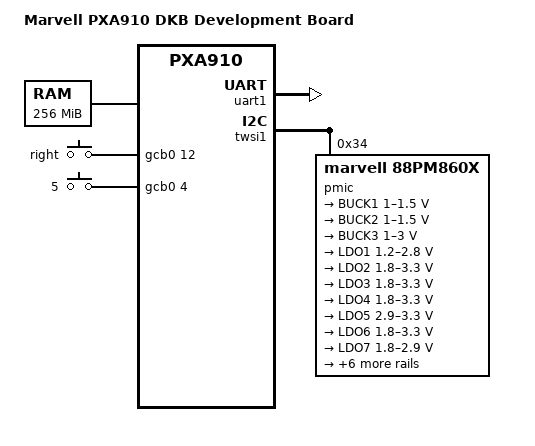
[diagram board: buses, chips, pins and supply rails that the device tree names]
/*
 *  Copyright (C) 2012 Marvell Technology Group Ltd.
 *  Author: Haojian Zhuang <haojian.zhuang@marvell.com>
 *
 *  This program is free software; you can redistribute it and/or modify
 *  it under the terms of the GNU General Public License version 2 as
 *  publishhed by the Free Software Foundation.
 */

/dts-v1/;
/include/ "pxa910.dtsi"

/ {
	model = "Marvell PXA910 DKB Development Board";
	compatible = "mrvl,pxa910-dkb", "mrvl,pxa910";

	chosen {
		bootargs = "console=ttyS0,115200 root=/dev/nfs nfsroot=192.168.1.100:/nfsroot/ ip=192.168.1.101:192.168.1.100::255.255.255.0::eth0:on";
	};

	memory {
		reg = <0x00000000 0x10000000>;
	};

	soc {
		apb@d4000000 {
			uart1: uart@d4017000 {
				status = "okay";
			};
			twsi1: i2c@d4011000 {
				status = "okay";

				pmic: 88pm860x@34 {
					compatible = "marvell,88pm860x";
					reg = <0x34>;
					interrupts = <4>;
					interrupt-parent = <&intc>;
					interrupt-controller;
					#interrupt-cells = <1>;

					marvell,88pm860x-irq-read-clr;
					marvell,88pm860x-slave-addr = <0x11>;

					regulators {
						BUCK1 {
							regulator-min-microvolt = <1000000>;
							regulator-max-microvolt = <1500000>;
							regulator-boot-on;
							regulator-always-on;
						};
						BUCK2 {
							regulator-min-microvolt = <1000000>;
							regulator-max-microvolt = <1500000>;
							regulator-boot-on;
							regulator-always-on;
						};
						BUCK3 {
							regulator-min-microvolt = <1000000>;
							regulator-max-microvolt = <3000000>;
							regulator-boot-on;
							regulator-always-on;
						};
						LDO1 {
							regulator-min-microvolt = <1200000>;
							regulator-max-microvolt = <2800000>;
							regulator-boot-on;
							regulator-always-on;
						};
						LDO2 {
							regulator-min-microvolt = <1800000>;
							regulator-max-microvolt = <3300000>;
							regulator-boot-on;
							regulator-always-on;
						};
						LDO3 {
							regulator-min-microvolt = <1800000>;
							regulator-max-microvolt = <3300000>;
							regulator-boot-on;
							regulator-always-on;
						};
						LDO4 {
							regulator-min-microvolt = <1800000>;
							regulator-max-microvolt = <3300000>;
							regulator-always-on;
						};
						LDO5 {
							regulator-min-microvolt = <2900000>;
							regulator-max-microvolt = <3300000>;
							regulator-boot-on;
							regulator-always-on;
						};
						LDO6 {
							regulator-min-microvolt = <1800000>;
							regulator-max-microvolt = <3300000>;
							regulator-boot-on;
							regulator-always-on;
						};
						LDO7 {
							regulator-min-microvolt = <1800000>;
							regulator-max-microvolt = <2900000>;
							regulator-boot-on;
							regulator-always-on;
						};
						LDO8 {
							regulator-min-microvolt = <1800000>;
							regulator-max-microvolt = <2900000>;
							regulator-boot-on;
							regulator-always-on;
						};
						LDO9 {
							regulator-min-microvolt = <1800000>;
							regulator-max-microvolt = <3300000>;
							regulator-boot-on;
							regulator-always-on;
						};
						LDO10 {
							regulator-min-microvolt = <1200000>;
							regulator-max-microvolt = <3300000>;
							regulator-boot-on;
							regulator-always-on;
						};
						LDO12 {
							regulator-min-microvolt = <1200000>;
							regulator-max-microvolt = <3300000>;
							regulator-always-on;
						};
						LDO13 {
							regulator-min-microvolt = <1200000>;
							regulator-max-microvolt = <3300000>;
							regulator-always-on;
						};
						LDO14 {
							regulator-min-microvolt = <1800000>;
							regulator-max-microvolt = <3300000>;
							regulator-always-on;
						};
					};
					rtc {
						marvell,88pm860x-vrtc = <1>;
					};
					touch {
						marvell,88pm860x-gpadc-prebias = <1>;
						marvell,88pm860x-gpadc-slot-cycle = <1>;
						marvell,88pm860x-tsi-prebias = <6>;
						marvell,88pm860x-pen-prebias = <16>;
						marvell,88pm860x-pen-prechg = <2>;
						marvell,88pm860x-resistor-X = <300>;
					};
					backlights {
						backlight-0 {
							marvell,88pm860x-iset = <4>;
							marvell,88pm860x-pwm = <3>;
						};
						backlight-2 {
						};
					};
					leds {
						led0-red {
							marvell,88pm860x-iset = <12>;
						};
						led0-green {
							marvell,88pm860x-iset = <12>;
						};
						led0-blue {
							marvell,88pm860x-iset = <12>;
						};
					};
				};
			};
			rtc: rtc@d4010000 {
				status = "okay";
			};
			gpio-keys {
				compatible = "gpio-keys";

				/* in6, out3, out4 */
				right {
					label = "right";
					gpios = <&gcb0 12 0>;
					linux,code = <106>;	/* KEY_RIGHT */
				};
				num5 {
					label = "5";
					gpios = <&gcb0 4 0>;
					linux,code = <6>;	/* KEY_5 */
				};
			};
			gpio@d4019000 {
				status = "okay";

				/*
				 * In theorical, some gpios could be routed to
				 * multiple pins. So define the gpio-ranges in
				 * board file, not silicon file.
				 */
				gcb0: gpio@d4019000 {
					/* <gpio_offset, pin_offset, nr_pins> */
					gpio-ranges = <&pmx 0 55 32>;
				};
				gcb1: gpio@d4019004 {
					/* <gpio_offset, pin_offset, nr_pins> */
					gpio-ranges = <&pmx 0 87 23 &pmx 23 188 9>;
				};
				gcb2: gpio@d4019008 {
					/* <gpio_offset, pin_offset, nr_pins> */
					gpio-ranges = <&pmx 0 197 3 &pmx 3 110 29>;
				};
				gcb3: gpio@d4019100 {
					/* <gpio_offset, pin_offset, nr_pins> */
					gpio-ranges = < &pmx 0 139 14 &pmx 14 166 7
							&pmx 21 45 4 &pmx 25 203 1
							&pmx 26 50 4 &pmx 30 27 2>;
				};
			};
			pmx: pinmux@d401e000 {
				/* pin base, nr pins & gpio function */
				pinctrl-single,gpio-range = <
					/*
					 * GPIO number is hardcoded for range at here.
					 * In gpio chip, GPIO number is not hardcoded for range.
					 * Since one gpio pin may be routed to multiple pins,
					 * define these gpio range in pxa910-dkb.dts not pxa910.dtsi.
					 */
						&range 55 55 0	/* GPIO0 ~ GPIO54 */
						&range 188 5 1	/* GPIO55 ~ GPIO59 */ 
						&range 193 7 0	/* GPIO60 ~ GPIO66 */
						&range 110 43 0	/* GPIO67 ~ GPIO109 */
						&range 166 7 0	/* GPIO110 ~ GPIO116 */
						&range 45 4 0	/* GPIO117 ~ GPIO120 */
						&range 50 2 1	/* GPIO122 ~ GPIO123 */
						&range 203 1 0	/* GPIO121 */
						&range 52 1 0	/* GPIO124 */
						&range 53 1 1	/* GPIO125 */
						&range 27 2 0	/* GPIO126 ~ GPIO127 */
					>;

				pinctrl-names = "default";
				pinctrl-0 = <&keypad_pmx_func>;

				uart1_pmx_func: pinmux_uart1_pins@0 {
					pinctrl-single,pins = <
						0x198 0x6	/* GPIO47_UART1_RXD */
						0x19c 0x6	/* GPIO48_UART1_TXD */
					>;
					pinctrl-single,slew-rate = <0x1000 0x1800>;
					pinctrl-single,bias-pullup = <0xc000 0xc000 0 0xc000>;
					pinctrl-single,bias-pulldown = <0 0xa000 0 0xa000>;
					pinctrl-single,input-schmitt = <0 0x30>;
					pinctrl-single,input-schmitt-enable = <0x40 0 0x40 0x40>;
				};
				uart2_pmx_func: pinmux_uart2_pins@0 {
					pinctrl-single,pins = <
						0x150 0x4	/* GPIO29_UART2_CTS */
						0x154 0x4	/* GPIO30_UART2_RTS */
						0x158 0x4	/* GPIO31_UART2_TXD */
						0x15c 0x4	/* GPIO32_UART2_RXD */
					>;
					pinctrl-single,slew-rate = <0x1000 0x1800>;
					pinctrl-single,bias-pullup = <0 0xc000 0 0xc000>;
					pinctrl-single,bias-pulldown = <0 0xa000 0 0xa000>;
					pinctrl-single,input-schmitt = <0 0x30>;
					pinctrl-single,input-schmitt-enable = <0x40 0 0x40 0x40>;
				};
				uart3_pmx_func: pinmux_uart3_pins@0 {
					pinctrl-single,pins = <
						0x188 0x7	/* GPIO43_UART3_RXD */
						0x18c 0x7	/* GPIO44_UART3_TXD */
					>;
					pinctrl-single,slew-rate = <0x1000 0x1800>;
					pinctrl-single,bias-pullup = <0 0xc000 0 0xc000>;
					pinctrl-single,bias-pulldown = <0 0xa000 0 0xa000>;
					pinctrl-single,input-schmitt = <0 0x30>;
					pinctrl-single,input-schmitt-enable = <0x40 0 0x40 0x40>;
				};
				twsi1_pmx_func: pinmux_twsi1_pins@0 {
					pinctrl-single,pins = <
						0x1b0 0x2	/* GPIO53_TWSI_SCL */
						0x1b4 0x2	/* GPIO54_TWSI_SDA */
					>;
					pinctrl-single,slew-rate = <0x1000 0x1800>;
					pinctrl-single,bias-pullup = <0 0xc000 0 0xc000>;
					pinctrl-single,bias-pulldown = <0 0xa000 0 0xa000>;
					pinctrl-single,input-schmitt = <0 0x30>;
					pinctrl-single,input-schmitt-enable = <0x40 0 0x40 0x40>;
				};
				nand_pmx_func: pinmux_nand_pins@0 {
					pinctrl-single,pins = <
						0x040 0x0	/* ND_IO0 */
						0x03c 0x0	/* ND_IO1 */
						0x038 0x0	/* ND_IO2 */
						0x034 0x0	/* ND_IO3 */
						0x030 0x0	/* ND_IO4 */
						0x02c 0x0	/* ND_IO5 */
						0x028 0x0	/* ND_IO6 */
						0x024 0x0	/* ND_IO7 */
						0x020 0x0	/* ND_IO8 */
						0x01c 0x0	/* ND_IO9 */
						0x018 0x0	/* ND_IO10 */
						0x014 0x0	/* ND_IO11 */
						0x010 0x0	/* ND_IO12 */
						0x00c 0x0	/* ND_IO13 */
						0x008 0x0	/* ND_IO14 */
						0x004 0x0	/* ND_IO15 */
						0x044 0x0	/* ND_nCS0 */
						0x060 0x1	/* ND_ALE */
						0x05c 0x0	/* ND_CLE */
						0x054 0x1	/* ND_nWE */
						0x058 0x1	/* ND_nRE */
						0x068 0x0	/* ND_RDY0 */
					>;
					pinctrl-single,slew-rate = <0x1000 0x1800>;
					pinctrl-single,bias-pullup = <0 0xc000 0 0xc000>;
					pinctrl-single,bias-pulldown = <0 0xa000 0 0xa000>;
					pinctrl-single,input-schmitt = <0 0x30>;
					pinctrl-single,input-schmitt-enable = <0x40 0 0x40 0x40>;
				};
				mmc1_pmx_func1: pinmux_mmc1_pins@0 {
					pinctrl-single,pins = <
						0x0a0 0x0	/* MMC1_DATA0 */
						0x09c 0x0	/* MMC1_DATA1 */
						0x098 0x0	/* MMC1_DATA2 */
						0x094 0x0	/* MMC1_DATA3 */
						0x090 0x0	/* MMC1_DATA4 */
						0x08c 0x0	/* MMC1_DATA5 */
						0x088 0x0	/* MMC1_DATA6 */
						0x084 0x0	/* MMC1_DATA7 */
						0x0a4 0x0	/* MMC1_CMD */
						0x0a8 0x0	/* MMC1_CLK */
					>;
					pinctrl-single,slew-rate = <0x1800 0x1800>;
					pinctrl-single,bias-pullup = <0 0xc000 0 0xc000>;
					pinctrl-single,bias-pulldown = <0 0xa000 0 0xa000>;
					pinctrl-single,input-schmitt = <0 0x30>;
					pinctrl-single,input-schmitt-enable = <0x40 0 0x40 0x40>;
				};
				mmc1_pmx_func2: pinmux_mmc1_pins@1 {
					pinctrl-single,pins = <
						0x0ac 0x0	/* MMC1_CD */
						0x0b0 0x0	/* MMC1_WP */
					>;
					pinctrl-single,slew-rate = <0x1000 0x1800>;
					pinctrl-single,bias-pullup = <0 0xc000 0 0xc000>;
					pinctrl-single,bias-pulldown = <0 0xa000 0 0xa000>;
					pinctrl-single,input-schmitt = <0 0x30>;
					pinctrl-single,input-schmitt-enable = <0x40 0 0x40 0x40>;
				};
				mmc2_pmx_func: pinmux_mmc2_pins@0 {
					pinctrl-single,pins = <
						0x180 0x1	/* MMC2_CMD */
						0x184 0x1	/* MMC2_CLK */
						0x17c 0x1	/* MMC2_DATA0 */
						0x178 0x1	/* MMC2_DATA1 */
						0x174 0x1	/* MMC2_DATA2 */
						0x170 0x1	/* MMC2_DATA3 */
					>;
					pinctrl-single,slew-rate = <0x1000 0x1800>;
					pinctrl-single,bias-pullup = <0 0xc000 0 0xc000>;
					pinctrl-single,bias-pulldown = <0 0xa000 0 0xa000>;
					pinctrl-single,input-schmitt = <0 0x30>;
					pinctrl-single,input-schmitt-enable = <0x40 0 0x40 0x40>;
				};
				ssp1_pmx_func: pinmux_ssp1_pins@0 {
					pinctrl-single,pins = <
						0x130 0x1	/* GPIO21_SSP1_SCLK */
						0x134 0x1	/* GPIO22_SSP1_FRM */
						0x138 0x1	/* GPIO23_SSP1_TXD */
						0x13c 0x1	/* GPIO24_SSP1_RXD */
					>;
					pinctrl-single,slew-rate = <0x1000 0x1800>;
					pinctrl-single,bias-pullup = <0 0xc000 0 0xc000>;
					pinctrl-single,bias-pulldown = <0 0xa000 0 0xa000>;
					pinctrl-single,input-schmitt = <0 0x30>;
					pinctrl-single,input-schmitt-enable = <0x40 0 0x40 0x40>;
				};
				keypad_pmx_func: pinmux_keypad_pins@0 {
					pinctrl-single,pins = <
						0x0dc 0x1	/* GPIO0_MKIN0 */
						0x0e0 0x1	/* GPIO1_MKOUT0 */
						0x0e4 0x1	/* GPIO2_MKIN1 */
						0x0e8 0x1	/* GPIO3_MKOUT1 */
						0x0ec 0x1	/* GPIO4_MKIN2 */
						0x0f0 0x1	/* GPIO5_MKOUT2 */
						0x0f4 0x1	/* GPIO6_MKIN3 */
						0x0f8 0x1	/* GPIO7_MKOUT3 */
						0x0fc 0x1	/* GPIO8_MKIN4 */
						0x100 0x1	/* GPIO9_MKOUT4 */
						0x10c 0x1	/* GPIO12_MKIN6 */
					>;
					pinctrl-single,slew-rate = <0x1000 0x1800>;
					pinctrl-single,bias-pullup = <0 0xc000 0 0xc000>;
					pinctrl-single,bias-pulldown = <0xa000 0xa000 0 0xa000>;
					pinctrl-single,input-schmitt = <0 0x30>;
					pinctrl-single,input-schmitt-enable = <0x40 0 0x40 0x40>;
				};
				nfc_pmx_func: pinmux_nfc_pins@0 {
					pinctrl-single,pins = <
						0x120 0x0	/* GPIO17 */
					>;
					pinctrl-single,slew-rate = <0x1000 0x1800>;
					pinctrl-single,bias-pullup = <0 0xc000 0 0xc000>;
					pinctrl-single,bias-pulldown = <0x0 0xa000 0 0xa000>;
					pinctrl-single,input-schmitt = <0 0x30>;
					pinctrl-single,input-schmitt-enable = <0x40 0 0x40 0x40>;
				};
				wlan_pmx_func: pinmux_wlan_pins@0 {
					pinctrl-single,pins = <
						0x114 0x0	/* GPIO14 */
						0x12c 0x0	/* GPIO20 */
						0x160 0x0	/* GPIO33 */
						0x164 0x0	/* GPIO34 */
						0x168 0x0	/* GPIO35 */
						0x16c 0x0	/* GPIO36 */
					>;
					pinctrl-single,slew-rate = <0x1000 0x1800>;
					pinctrl-single,bias-pullup = <0 0xc000 0 0xc000>;
					pinctrl-single,bias-pulldown = <0 0xa000 0 0xa000>;
					pinctrl-single,input-schmitt = <0 0x30>;
					pinctrl-single,input-schmitt-enable = <0x40 0 0x40 0x40>;
				};
			};
		};
	};
};
